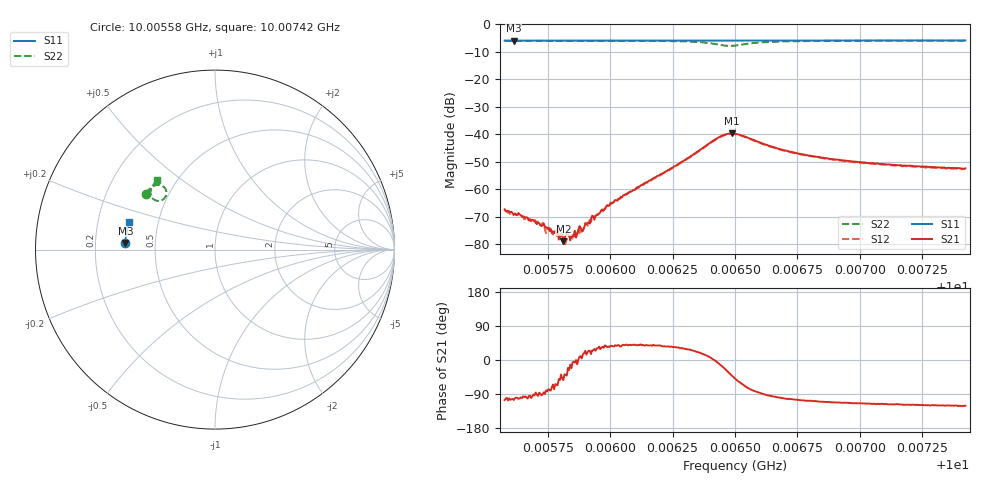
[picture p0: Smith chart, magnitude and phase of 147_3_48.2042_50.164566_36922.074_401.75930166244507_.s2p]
#  HZ  S  RI  R  50.00
! Rohde & Schwarz Vector Network Analyzer
! Rohde-Schwarz,ZNB20-2Port,1311601062101988,3.16
! Created: UTC 3/20/2024, 11:42:40 AM
! freq[Hz]  re:S11  im:S11  re:S21  im:S21  re:S12  im:S12  re:S22  im:S22
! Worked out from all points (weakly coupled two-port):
!   401 points, 10.00558 GHz to 10.00742 GHz, reference 50 ohm
!   highest |S21| = -39.78 dB at 10.00649 GHz (marker M1); lowest = -79.0 dB at 10.00581 GHz (marker M2)
!   lowest |S11| = -6.0 dB at 10.00561 GHz (marker M3), VSWR 3.01, Z = 16.7 + j1.67 ohm
!   |S11| at or under -10 dB: nowhere
!   |S22| runs from -7.9 to -6.0 dB; largest |S21 - S12| = 0.0006
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1.0005577e10  -0.4995 0.0351  -0.000117 -0.000412  -4.78e-05 -0.000397  -0.3867 0.3119
1.0005614e10  -0.4993 0.0375  -9.18e-05 -0.000329  -5.83e-05 -0.000337  -0.3849 0.3142
1.0005641e10  -0.4994 0.0393  -5.05e-05 -0.000332  -4.93e-05 -0.000338  -0.3837 0.3159
1.0005725e10  -0.4991 0.0446  -1.22e-05 -0.000212  4.04e-05 -0.000213  -0.3798 0.321
1.0005766e10  -0.499 0.0474  4.98e-05 -0.000151  7.03e-05 -0.000144  -0.3776 0.3235
1.000578e10  -0.4988 0.0483  7.73e-05 -0.000155  5.23e-05 -0.000149  -0.3769 0.3244
1.0005803e10  -0.4987 0.0498  0.000114 -9.05e-05  0.000109 -8.89e-05  -0.3756 0.3258
1.0005812e10  -0.4987 0.0504  6.74e-05 -8.99e-05  9.79e-05 -9.19e-05  -0.3752 0.3265
1.0005826e10  -0.4986 0.0514  0.000111 -9.69e-05  0.000107 -6.05e-05  -0.3744 0.3275
1.0005845e10  -0.4986 0.0524  0.000135 -5.28e-05  0.000132 -2.28e-05  -0.3735 0.3285
1.0005863e10  -0.4985 0.0537  0.000131 -5.55e-07  0.000157 7.6e-06  -0.3723 0.3299
1.0005886e10  -0.4983 0.0553  0.000172 1.26e-05  0.000156 6.03e-05  -0.371 0.3313
1.0005937e10  -0.4982 0.0585  0.000242 0.000134  0.000277 0.000139  -0.3679 0.3346
1.0006011e10  -0.4977 0.0633  0.000456 0.000337  0.00045 0.000329  -0.3627 0.3398
1.0006195e10  -0.4963 0.0754  0.00138 0.00108  0.00134 0.00111  -0.3444 0.3536
1.0006431e10  -0.4935 0.0903  0.00846 -0.00103  0.00832 -0.00059  -0.2723 0.3288
1.0006486e10  -0.4927 0.0933  0.0078 -0.00666  0.00797 -0.00609  -0.2887 0.2796
1.00065e10  -0.4928 0.094  0.00666 -0.00766  0.0069 -0.00716  -0.3012 0.2733
1.000668e10  -0.4916 0.1054  -0.000851 -0.00525  -0.000612 -0.00521  -0.3598 0.3215
1.000681e10  -0.4902 0.1139  -0.00125 -0.00378  -0.00106 -0.00374  -0.354 0.3424
1.0007119e10  -0.4859 0.1334  -0.00128 -0.00248  -0.00112 -0.00247  -0.337 0.3682
1.0007424e10  -0.4809 0.1523  -0.00122 -0.00205  -0.0011 -0.00202  -0.3207 0.3854
